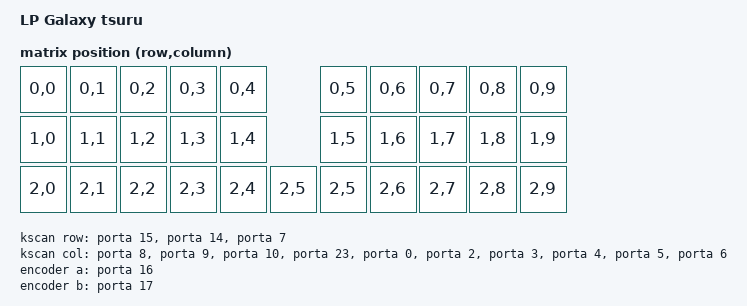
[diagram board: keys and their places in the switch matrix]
/*
 * Copyright (c) 2023 Pete Johanson
 *
 * SPDX-License-Identifier: Apache-2.0
 */

/dts-v1/;
#include <atmel/samd21.dtsi>
#include <atmel/samx2xx18.dtsi>
#include "tsuru-pinctrl.dtsi"

/ {
	model = "LP Galaxy tsuru";
	compatible = "lpgalaxy,tsuru";

	chosen {
		zephyr,sram = &sram0;
		zephyr,flash = &flash0;
		zephyr,console = &cdc_acm_uart;
		zephyr,code-partition = &code_partition;
		zmk,kscan = &kscan;
		zmk,matrix_transform = &default_transform;
	};

	kscan: kscan {
		compatible = "zmk,kscan-gpio-matrix";
		diode-direction = "col2row";
		
		col-gpios
			= <&porta  8 GPIO_ACTIVE_HIGH>
			, <&porta  9 GPIO_ACTIVE_HIGH>
			, <&porta 10 GPIO_ACTIVE_HIGH>
			, <&porta 23 GPIO_ACTIVE_HIGH>
			, <&porta  0 GPIO_ACTIVE_HIGH>
			, <&porta  2 GPIO_ACTIVE_HIGH>
			, <&porta  3 GPIO_ACTIVE_HIGH>
			, <&porta  4 GPIO_ACTIVE_HIGH>
			, <&porta  5 GPIO_ACTIVE_HIGH>
			, <&porta  6 GPIO_ACTIVE_HIGH>
			;

		row-gpios
			= <&porta 15 (GPIO_ACTIVE_HIGH | GPIO_PULL_DOWN)>
			, <&porta 14 (GPIO_ACTIVE_HIGH | GPIO_PULL_DOWN)>
			, <&porta  7 (GPIO_ACTIVE_HIGH | GPIO_PULL_DOWN)>
			;
	};

	default_transform: default_transform {
		compatible = "zmk,matrix-transform";
		columns = <10>;
		rows = <3>;
//      | SW00 | SW01  | SW02  | SW03  | SW04 |      | SW05  | SW06  | SW07  | SW08  | SW09  |
//      | SW10 | SW11  | SW12  | SW13  | SW14 |      | SW15  | SW16  | SW17  | SW18  | SW19  |
//      | SW20 | SW21  | SW22  | SW23  | SW24 | SW25 | SW25  | SW26  | SW27  | SW28  | SW29  |
        map = <
			RC(0,0) RC(0,1)  RC(0,2)  RC(0,3)  RC(0,4)         RC(0,5)  RC(0,6)  RC(0,7)  RC(0,8)  RC(0,9)
			RC(1,0) RC(1,1)  RC(1,2)  RC(1,3)  RC(1,4)         RC(1,5)  RC(1,6)  RC(1,7)  RC(1,8)  RC(1,9)
			RC(2,0) RC(2,1)  RC(2,2)  RC(2,3)  RC(2,4) RC(2,5) RC(2,5)  RC(2,6)  RC(2,7)  RC(2,8)  RC(2,9)
		>;
	};

	encoder: encoder {
		compatible = "alps,ec11";
		a-gpios = <&porta 16 (GPIO_ACTIVE_HIGH | GPIO_PULL_UP)>;
		b-gpios = <&porta 17 (GPIO_ACTIVE_HIGH | GPIO_PULL_UP)>;
		steps = <48>;
		status = "okay";
	};

	sensors {
		compatible = "zmk,keymap-sensors";
		sensors = <&encoder>;
		triggers-per-rotation = <12>;
	};
};

&cpu0 {
	clock-frequency = <48000000>;
};

zephyr_udc0: &usb0 {
        status = "okay";

        pinctrl-0 = <&usb_dc_default>;
        pinctrl-names = "default";

	cdc_acm_uart: cdc_acm_uart {
		compatible = "zephyr,cdc-acm-uart";
	};
};

&flash0 {
	partitions {
		compatible = "fixed-partitions";
		#address-cells = <1>;
		#size-cells = <1>;

		boot_partition: partition@0 {
			reg = <0x00000000 DT_SIZE_K(8)>;
			read-only;
		};

		code_partition: partition@2000 {
			reg = <0x2000 DT_SIZE_K(256-8-16)>;
			read-only;
		};

		/*
		 * The final 16 KiB is reserved for the application.
		 * Storage partition may be used by FCB or LittleFS.
		 */
		storage_partition: partition@3c000 {
			reg = <0x0003c000 DT_SIZE_K(16)>;
		};
	};
};
